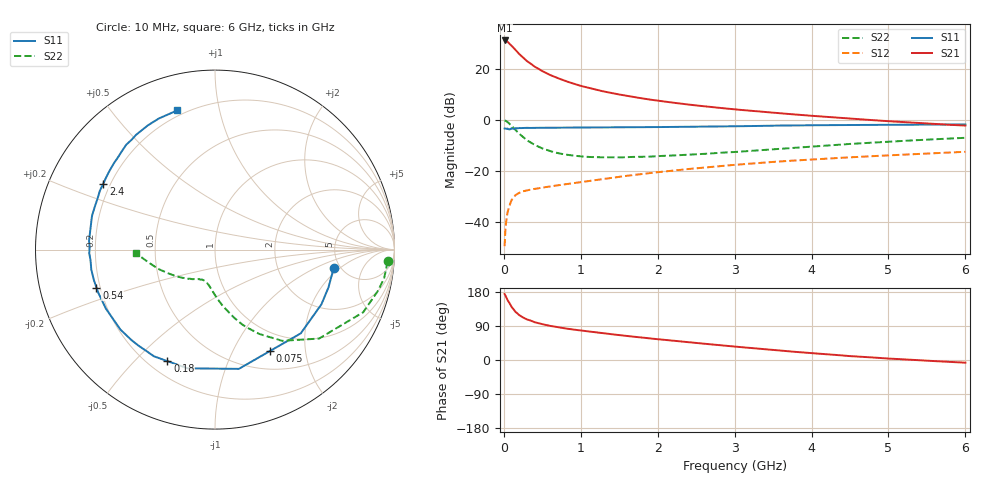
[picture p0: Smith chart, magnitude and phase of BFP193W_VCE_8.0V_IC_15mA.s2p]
! Infineon Technologies  Discrete & RF Semiconductors
! BFP193W
! VCE = 8.0 V,  IC =  15 mA
! Common Emitter S-Parameters:  Jan 2016
# GHz  S  MA  R  50
!  f  S11  S21  S12  S22
! GHz  MAG  ANG  MAG  ANG  MAG  ANG  MAG  ANG
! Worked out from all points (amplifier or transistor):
!   210 points, 10 MHz to 6 GHz, reference 50 ohm
!   highest |S21| = 31.0 dB at 10 MHz (marker M1)
!   |S21| within 3 dB of that: start of sweep to 129.4 MHz
!   unconditionally stable (mu >= 1): 1.173 GHz to 4.463 GHz
!   at 185 MHz: K = 0.27, MSG = 27.6 dB, |S12| = -29.0 dB
!   at 1.52 GHz: K = 1.08, MAG = 14.3 dB, |S12| = -22.4 dB
!   at 6 GHz: K = 0.94, MSG = 5.1 dB, |S12| = -12.6 dB
!   S11 on the Smith chart (normalised r, x): 10 MHz: 4.39, -1.66; 75 MHz: 0.73, -1.41; 180 MHz: 0.27, -0.63; 540 MHz: 0.19, -0.15; 2.4 GHz: 0.17, +0.27; 6 GHz: 0.17, +0.75
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0.01  0.6692 -9.0  35.68 174.1  0.0033 83.9  0.9644 -3.9
0.02  0.6664 -18.5  35.53 170.4  0.0068 80.0  0.9558 -9.6
0.03  0.6667 -27.2  34.98 166.1  0.0098 78.5  0.9372 -14.1
0.05  0.668 -44.3  33.45 157.5  0.0156 70.6  0.8966 -22.9
0.075  0.6428 -61.6  30.53 149.5  0.0208 61.6  0.82 -31.0
0.1  0.6777 -78.7  28.32 140.0  0.0263 56.3  0.7629 -40.5
0.15  0.6788 -103.0  23.39 127.2  0.0329 47.5  0.6316 -53.6
0.18  0.6755 -113.1  20.91 122.3  0.0351 44.1  0.5681 -58.6
0.2  0.6848 -119.7  19.36 118.4  0.0367 42.0  0.5286 -62.5
0.24  0.6842 -128.8  17 113.5  0.0387 39.2  0.4693 -67.7
0.3  0.6899 -139.7  14.09 107.1  0.0411 37.0  0.3944 -74.3
0.4  0.6912 -151.5  10.96 99.7  0.0438 35.8  0.3193 -81.9
0.54  0.6935 -162.2  8.37 92.8  0.0474 36.5  0.2598 -89.1
0.8  0.6959 -175.0  5.711 83.3  0.0542 40.0  0.2067 -98.3
1.02  0.6995 178.2  4.509 77.3  0.0602 42.9  0.1893 -104.3
1.4  0.7055 168.8  3.325 67.9  0.0723 46.4  0.1822 -111.5
2.02  0.7143 156.0  2.332 54.5  0.0938 49.0  0.1931 -120.8
2.4  0.7226 149.4  1.971 46.9  0.1075 49.0  0.2063 -126.7
3.1  0.7434 137.8  1.542 33.8  0.1334 47.0  0.2374 -138.4
4.1  0.7775 123.3  1.16 16.6  0.1688 42.2  0.3013 -155.2
5.1  0.7947 112.5  0.912 2.8  0.2025 37.0  0.3767 -169.0
6  0.8037 105.1  0.764 -7.1  0.2341 32.4  0.4401 -177.7
